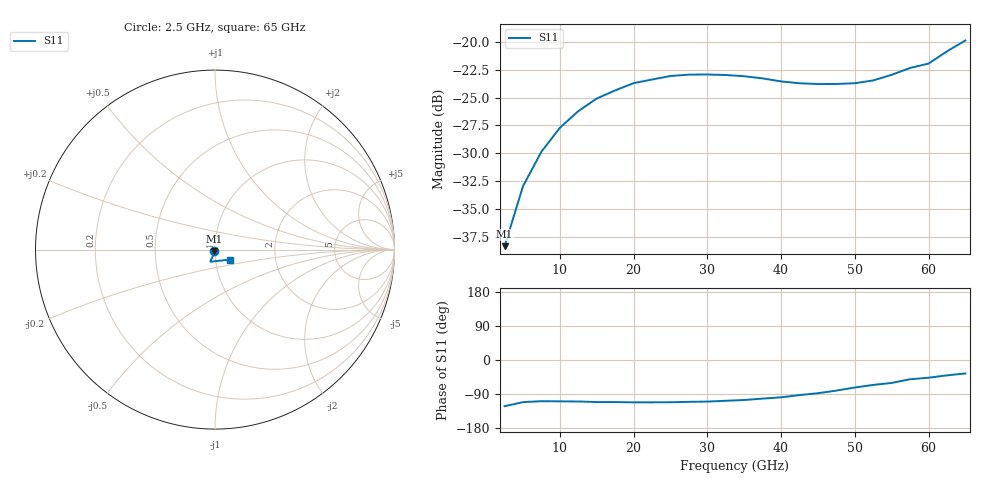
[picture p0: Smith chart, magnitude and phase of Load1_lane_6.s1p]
! File created by SignalIntegrity v1.5.1: Signal and Power Integrity Tools
! https://github.com/Nubis-Communications/SignalIntegrity
# MHz S MA R 50.0
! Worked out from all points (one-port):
!   26 points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, 2.5 GHz to 65 GHz, reference 50 ohm
!   lowest |S11| = -38.4 dB at 2.5 GHz (marker M1), VSWR 1.02, Z = 49.4 - j1.01 ohm
!   |S11| at or under -10 dB: start of sweep to end of sweep
2500  0.01208 -122.0
5000  0.02249 -111.2
7500  0.03213 -108.7
10000  0.04111 -109.1
12500  0.04888 -109.5
15000  0.05564 -110.9
17500  0.06053 -111.1
20000  0.06523 -111.7
22500  0.06774 -111.7
25000  0.07026 -111.5
27500  0.07124 -110.4
30000  0.07135 -109.7
32500  0.07096 -107.6
35000  0.07007 -105.5
37500  0.06853 -101.9
40000  0.06641 -98.5
42500  0.06517 -92.6
45000  0.06464 -87.7
47500  0.06467 -80.7
50000  0.06518 -72.6
52500  0.0671 -65.8
55000  0.07112 -60.5
57500  0.07635 -50.8
60000  0.07987 -46.8
62500  0.09066 -40.6
65000  0.1015 -35.5
